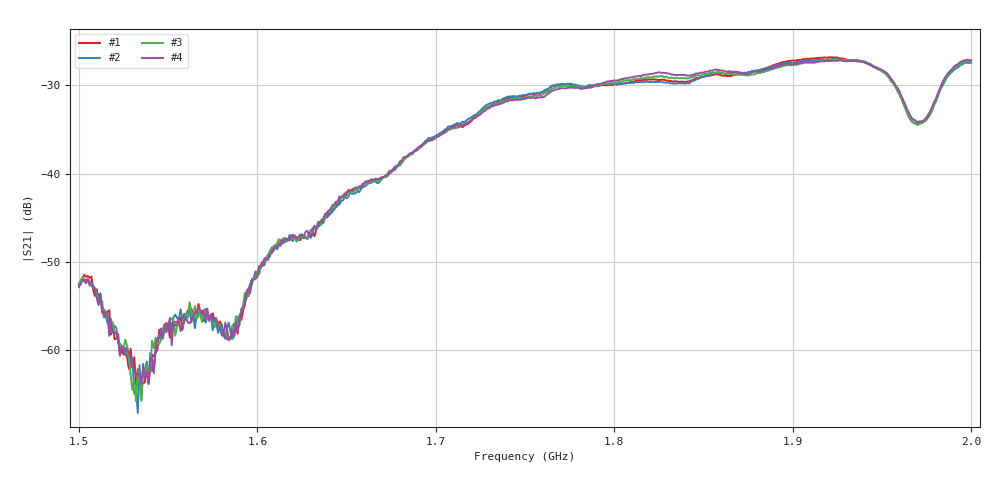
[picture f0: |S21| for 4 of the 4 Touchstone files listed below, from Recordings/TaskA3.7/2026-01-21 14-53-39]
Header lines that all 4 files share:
! NanoVNA-App by SYSJOINT et al v1.1.209 (+OD18)
! Start: 1,5GHz Stop: 2GHz Points: 501
! S-Parameter data: F S11 S21 S12 S22
# Hz S RI R 50
!  Frequency  S11_Real  S11_Imag  S21_Real  S21_Imag  S12_Real  S12_Imag  S22_Real  S22_Imag
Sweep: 1.5 GHz to 2 GHz
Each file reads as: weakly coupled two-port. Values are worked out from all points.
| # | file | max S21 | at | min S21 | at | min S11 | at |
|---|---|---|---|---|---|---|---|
| 1 | 0.s2p | -26.82 dB | 1.921 GHz | -63.9 dB | 1.532 GHz | -30.5 dB | 1.817 GHz |
| 2 | 1.s2p | -27.04 dB | 1.923 GHz | -67.1 dB | 1.533 GHz | -30.1 dB | 1.817 GHz |
| 3 | 2.s2p | -27.02 dB | 1.924 GHz | -65.8 dB | 1.532 GHz | -30.4 dB | 1.817 GHz |
| 4 | 3.s2p | -27.10 dB | 1.998 GHz | -63.8 dB | 1.535 GHz | -30.1 dB | 1.817 GHz |
